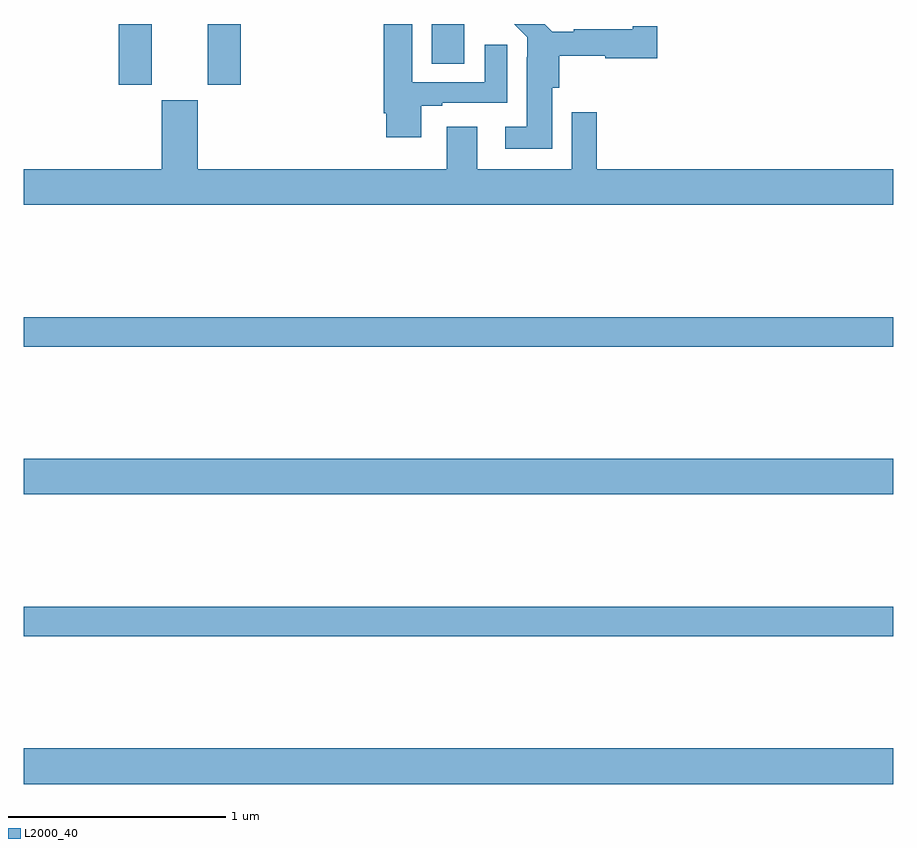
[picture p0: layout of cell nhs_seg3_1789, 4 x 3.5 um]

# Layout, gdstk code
import gdstk
lib = gdstk.Library(unit=1e-6, precision=1e-09)
def R(c, l, rs):  # rectangles x0, y0, x1, y1
    for r in rs: c.add(gdstk.rectangle(r[:2], r[2:], *l))
def P(c, l, *ps):  # polygons
    for p in ps: c.add(gdstk.Polygon(p, *l))
L2000_40 = (2000, 40)

nhs_seg3_1789 = lib.new_cell('nhs_seg3_1789')
R(nhs_seg3_1789, L2000_40, [(203,712.904,207,713.068), (203,713.584,207,713.72), (203,714.236,207,714.4), (203,714.916,207,715.052), (203.438,716.121,203.59,716.4), (203.846,716.121,203.999,716.4), (204.878,716.218,205.027,716.4)])
P(nhs_seg3_1789, L2000_40, [(205.432,716.106),(205.463,716.106),(205.463,716.255),(205.674,716.255),(205.674,716.243),(205.915,716.243),(205.915,716.39),(205.802,716.39),(205.802,716.377),(205.53,716.377),(205.53,716.365),(205.431,716.365),(205.396,716.4),(205.257,716.4),(205.317,716.34),(205.317,716.246),(205.313,716.246),(205.313,715.927),(205.215,715.927),(205.215,715.826),(205.432,715.826)],
  [(204.829,716.025),(204.925,716.025),(204.925,716.037),(205.225,716.037),(205.225,716.305),(205.121,716.305),(205.121,716.133),(204.787,716.133),(204.787,716.4),(204.656,716.4),(204.656,715.99),(204.668,715.99),(204.668,715.878),(204.829,715.878)],
  [(207,715.732),(205.637,715.732),(205.637,715.993),(205.521,715.993),(205.521,715.732),(205.087,715.732),(205.087,715.927),(204.947,715.927),(204.947,715.732),(203.8,715.732),(203.8,716.049),(203.636,716.049),(203.636,715.732),(203,715.732),(203,715.568),(207,715.568)])

lib.write_gds('nhs_seg3_1789.gds')
